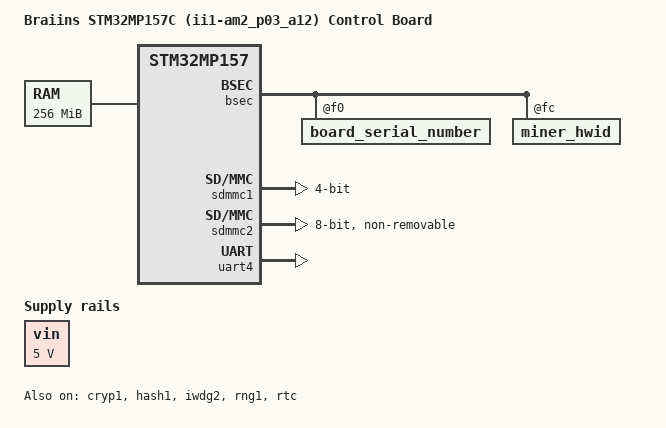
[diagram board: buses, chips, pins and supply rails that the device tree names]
// SPDX-License-Identifier: (GPL-2.0+ OR BSD-3-Clause)
/*
 * Copyright (C) 2023  Braiins Systems s.r.o.
 *
 * This file is part of Braiins Open-Source Initiative (BOSI).
 *
 * BOSI is free software: you can redistribute it and/or modify
 * it under the terms of the GNU General Public License as published by
 * the Free Software Foundation, either version 3 of the License, or
 * (at your option) any later version.
 *
 * This program is distributed in the hope that it will be useful,
 * but WITHOUT ANY WARRANTY; without even the implied warranty of
 * MERCHANTABILITY or FITNESS FOR A PARTICULAR PURPOSE.  See the
 * GNU General Public License for more details.
 *
 * You should have received a copy of the GNU General Public License
 * along with this program.  If not, see <https://www.gnu.org/licenses/>.
 *
 * Please, keep in mind that we may also license BOSI or any part thereof
 * under a proprietary license. For more information on the terms and conditions
 * of such proprietary license or if you have any other questions, please
 * contact us at opensource@braiins.com.
 */

/dts-v1/;

#include <dt-bindings/clock/stm32mp1-clksrc.h>
#include <dt-bindings/power/stm32mp1-power.h>
#include <dt-bindings/soc/st,stm32-etzpc.h>

#include "stm32mp157.dtsi"
#include "stm32mp15xc.dtsi"
#include "stm32mp157c-ii1-am2-pinctrl.dtsi"
#include "stm32mp15xxab-pinctrl.dtsi"
#include "stm32mp15-ddr3-1x2Gb-1066-binG.dtsi"

/ {
	model = "Braiins STM32MP157C (ii1-am2_p03_a12) Control Board";
	compatible = "braiins,stm32mp157c-ii1-am2_p03_a12", "st,stm32mp157";

	aliases {
		mmc0 = &sdmmc2;     /* eMMC */
		mmc1 = &sdmmc1;     /* SD card */
		serial0 = &uart4;
		serial1 = &usart3;
		serial2 = &uart5;
		serial3 = &uart7;
		serial4 = &uart8;
	};

	chosen {
		stdout-path = "serial0:115200n8";
	};

	memory@c0000000 {
		device_type = "memory";
		reg = <0xc0000000 0x10000000>;
	};

	vin: vin {
		compatible = "regulator-fixed";
		regulator-name = "vin";
		regulator-min-microvolt = <5000000>;
		regulator-max-microvolt = <5000000>;
		regulator-always-on;
	};
};

&bsec {
	board_serial_number: board_serial_number@f0 {
		reg = <0xf0 0xc>;
		st,non-secure-otp;
	};

	miner_hwid: miner_hwid@fc {
		reg = <0xfc 0xc>;
		st,non-secure-otp;
	};
};

&cryp1 {
	status = "okay";
};

&etzpc {
	st,decprot = <
		/*"NS_R S_W" peripherals*/
		DECPROT(STM32MP1_ETZPC_DDRCTRL_ID, DECPROT_NS_R_S_W, DECPROT_LOCK)
		DECPROT(STM32MP1_ETZPC_DDRPHYC_ID, DECPROT_NS_R_S_W, DECPROT_LOCK)
		/*"Non Secured" peripherals*/
		DECPROT(STM32MP1_ETZPC_DMA1_ID, DECPROT_NS_RW, DECPROT_UNLOCK)
		DECPROT(STM32MP1_ETZPC_DMA2_ID, DECPROT_NS_RW, DECPROT_UNLOCK)
		DECPROT(STM32MP1_ETZPC_DMAMUX_ID, DECPROT_NS_RW, DECPROT_UNLOCK)
		DECPROT(STM32MP1_ETZPC_ETH_ID, DECPROT_NS_RW, DECPROT_UNLOCK)
		DECPROT(STM32MP1_ETZPC_I2C1_ID, DECPROT_NS_RW, DECPROT_UNLOCK)
		DECPROT(STM32MP1_ETZPC_I2C2_ID, DECPROT_NS_RW, DECPROT_UNLOCK)
		DECPROT(STM32MP1_ETZPC_I2C4_ID, DECPROT_NS_RW, DECPROT_UNLOCK)
		DECPROT(STM32MP1_ETZPC_TIM1_ID, DECPROT_NS_RW, DECPROT_UNLOCK)
		DECPROT(STM32MP1_ETZPC_TIM2_ID, DECPROT_NS_RW, DECPROT_UNLOCK)
		DECPROT(STM32MP1_ETZPC_UART4_ID, DECPROT_NS_RW, DECPROT_UNLOCK)
		DECPROT(STM32MP1_ETZPC_UART5_ID, DECPROT_NS_RW, DECPROT_UNLOCK)
		DECPROT(STM32MP1_ETZPC_UART7_ID, DECPROT_NS_RW, DECPROT_UNLOCK)
		DECPROT(STM32MP1_ETZPC_UART8_ID, DECPROT_NS_RW, DECPROT_UNLOCK)
		DECPROT(STM32MP1_ETZPC_USART3_ID, DECPROT_NS_RW, DECPROT_UNLOCK)
		/*"Secured" peripherals*/
		DECPROT(STM32MP1_ETZPC_STGENC_ID, DECPROT_S_RW, DECPROT_UNLOCK)
	>;
};

&hash1 {
	status = "okay";
};

&iwdg2 {
	timeout-sec = <32>;
	secure-timeout-sec = <5>;
	status = "okay";
	secure-status = "okay";
};

&nvmem_layout {
	nvmem-cells = <&cfg0_otp>,
		      <&part_number_otp>,
		      <&monotonic_otp>,
		      <&nand_otp>,
		      <&uid_otp>,
		      <&package_otp>,
		      <&hw2_otp>,
		      <&pkh_otp>,
		      <&board_serial_number>,
		      <&miner_hwid>;

	nvmem-cell-names = "cfg0_otp",
			   "part_number_otp",
			   "monotonic_otp",
			   "nand_otp",
			   "uid_otp",
			   "package_otp",
			   "hw2_otp",
			   "pkh_otp",
			   "board_serial_number",
			   "miner_hwid";
};

&pwr_regulators {
	system_suspend_supported_soc_modes = <
		STM32_PM_CSLEEP_RUN
		STM32_PM_CSTOP_ALLOW_LP_STOP
		STM32_PM_CSTOP_ALLOW_STANDBY_DDR_SR
	>;
	system_off_soc_mode = <STM32_PM_CSTOP_ALLOW_STANDBY_DDR_OFF>;
};

&rcc {
	st,hsi-cal;
	st,csi-cal;
	st,cal-sec = <60>;
	st,clksrc = <
		CLK_MPU_PLL1P
		CLK_AXI_PLL2P
		CLK_MCU_PLL3P
		CLK_PLL12_HSE
		CLK_PLL3_HSE
		CLK_PLL4_HSE
		CLK_RTC_LSI
		CLK_MCO1_DISABLED
		CLK_MCO2_DISABLED
	>;

	st,clkdiv = <
		1 		/*MPU*/
		0 		/*AXI*/
		0 		/*MCU*/
		1 		/*APB1*/
		1 		/*APB2*/
		1 		/*APB3*/
		1 		/*APB4*/
		2 		/*APB5*/
		0 		/*RTC*/
		0 		/*MCO1*/
		0 		/*MCO2*/
	>;

	st,pkcs = <
		CLK_CKPER_DISABLED
		CLK_ETH_PLL3Q
		CLK_SDMMC12_PLL4P
		CLK_STGEN_HSE
		CLK_USBPHY_DISABLED
		CLK_SPI2S1_DISABLED
		CLK_SPI2S23_DISABLED
		CLK_SPI45_DISABLED
		CLK_SPI6_DISABLED
		CLK_I2C46_HSI
		CLK_SDMMC3_DISABLED
		CLK_ADC_DISABLED
		CLK_CEC_DISABLED
		CLK_I2C12_HSI
		CLK_I2C35_DISABLED
		CLK_UART1_DISABLED
		CLK_UART24_HSI
		CLK_UART35_HSI
		CLK_UART6_DISABLED
		CLK_UART78_HSI
		CLK_SPDIF_DISABLED
		CLK_SAI1_DISABLED
		CLK_SAI2_DISABLED
		CLK_SAI3_DISABLED
		CLK_SAI4_DISABLED
		CLK_LPTIM1_DISABLED
		CLK_LPTIM23_DISABLED
		CLK_LPTIM45_DISABLED
	>;

	pll2: st,pll@1 {
		compatible = "st,stm32mp1-pll";
		reg = <1>;
		cfg = <2 65 1 1 0 PQR(1,0,1)>;
		frac = <0x1400>;
	};

	pll3: st,pll@2 {
		compatible = "st,stm32mp1-pll";
		reg = <2>;
		cfg = <1 49 2 11 52 PQR(1,1,0)>;
	};

	pll4: st,pll@3 {
		compatible = "st,stm32mp1-pll";
		reg = <3>;
		cfg = <3 98 5 7 7 PQR(1,0,0)>;
	};
};

&rng1 {
	status = "okay";
	secure-status = "okay";
};

&rtc {
	status = "okay";
	secure-status = "okay";
};

&sdmmc1 {
	pinctrl-names = "default";
	pinctrl-0 = <&sdmmc1_pins_mx>;
	disable-wp;
	st,neg-edge;
	bus-width = <4>;
	status = "okay";
};

&sdmmc2 {
	pinctrl-names = "default", "opendrain", "sleep";
	pinctrl-0 = <&sdmmc2_pins_mx>;
	non-removable;
	no-sd;
	no-sdio;
	st,neg-edge;
	bus-width = <8>;
	mmc-ddr-3_3v;
	status = "okay";
};

&timers15 {
	secure-status = "okay";
	st,hsi-cal-input = <7>;
	st,csi-cal-input = <8>;
};

&uart4 {
	pinctrl-names = "default";
	pinctrl-0 = <&uart4_pins>;
	status = "okay";
};

&uart5 {
	pinctrl-names = "default";
	pinctrl-0 = <&uart5_pins>;
	status = "disabled";
};

&uart7 {
	pinctrl-names = "default";
	pinctrl-0 = <&uart7_pins>;
	status = "disabled";
};

&uart8 {
	pinctrl-names = "default";
	pinctrl-0 = <&uart8_pins>;
	status = "disabled";
};

&usart3 {
	pinctrl-names = "default";
	pinctrl-0 = <&usart3_pins>;
	status = "disabled";
};
